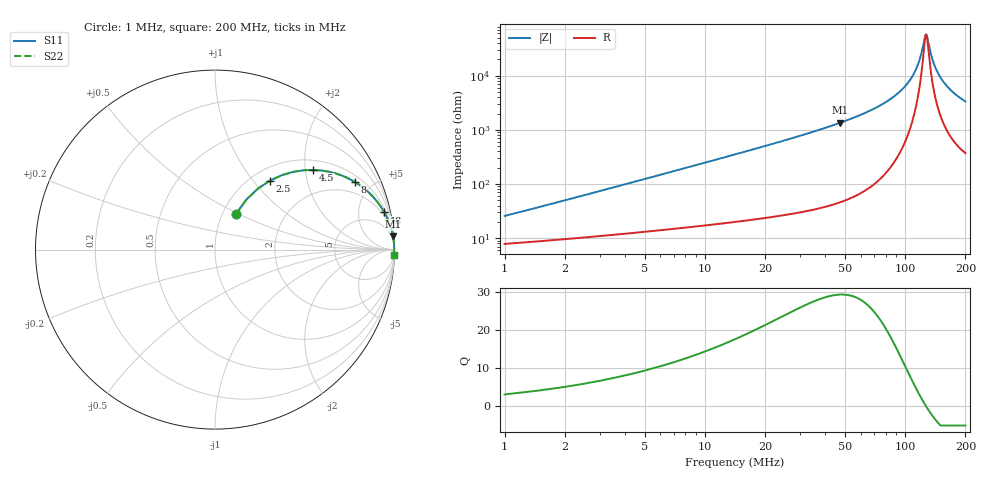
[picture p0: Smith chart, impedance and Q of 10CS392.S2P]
! Coilcraft 1008CS-392 Chip Inductor
! 02 July 2002
# MHZ S MA R 50
!Freq  MagS11  AngS11  MagS21  AngS21  MagS12  AngS12  MagS22  AngS22
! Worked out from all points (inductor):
!   399 points, 1 MHz to 200 MHz, reference 50 ohm
!   read as one part in series: L = 3.9 uH near 1.5 MHz
!   highest Q = 29.3 at 47.5 MHz (marker M1), where L = 4.53 uH
!   self-resonance near 127 MHz
!   S11 on the Smith chart (normalised r, x): 1 MHz: 1.16, +0.49; 2.5 MHz: 1.21, +1.23; 4.5 MHz: 1.25, +2.21; 8 MHz: 1.31, +3.94; 18 MHz: 1.45, +9.00; 200 MHz: 8, -66
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1  0.2327 59.5  0.9043 -12.8  0.9043 -12.8  0.2327 59.5
1.5  0.3292 57.9  0.8709 -18.7  0.8709 -18.7  0.3292 57.9
2.5  0.4925 51.4  0.7925 -29.1  0.7925 -29.1  0.4925 51.4
4.5  0.7047 39.1  0.6341 -44.4  0.6341 -44.4  0.7047 39.1
8  0.8649 25.9  0.4381 -59.6  0.4381 -59.6  0.8649 25.9
12  0.9304 18.2  0.313 -68.2  0.313 -68.2  0.9304 18.2
18  0.9662 12.4  0.2144 -74.8  0.2144 -74.8  0.9662 12.4
34.5  0.9902 6.2  0.1085 -81.7  0.1085 -81.7  0.9902 6.2
47.5  0.9948 4.2  0.07354 -83.8  0.07354 -83.8  0.9948 4.2
67.5  0.9974 2.5  0.04334 -85.3  0.04334 -85.3  0.9974 2.5
87  0.9982 1.4  0.02498 -85.2  0.02498 -85.2  0.9982 1.4
100.5  0.9984 0.9  0.01534 -83.6  0.01534 -83.6  0.9984 0.9
109  0.9984 0.6  0.0101 -80.7  0.0101 -80.7  0.9984 0.6
115.5  0.9984 0.4  0.006447 -75.4  0.006447 -75.4  0.9984 0.4
120  0.9984 0.2  0.004136 -66.5  0.004136 -66.5  0.9984 0.2
126.5  0.9983 0.0  0.001771 -13.9  0.001771 -13.9  0.9983 0.0
128.5  0.9983 -0.0  0.001839 18.2  0.001839 18.2  0.9983 -0.0
134  0.9982 -0.2  0.00373 60.5  0.00373 60.5  0.9982 -0.2
139.5  0.9981 -0.3  0.006132 71.4  0.006132 71.4  0.9981 -0.3
146.5  0.9979 -0.5  0.009197 76.7  0.009197 76.7  0.9979 -0.5
167  0.9974 -1.0  0.01766 81.0  0.01766 81.0  0.9974 -1.0
200  0.9962 -1.7  0.02987 81.9  0.02987 81.9  0.9962 -1.7
